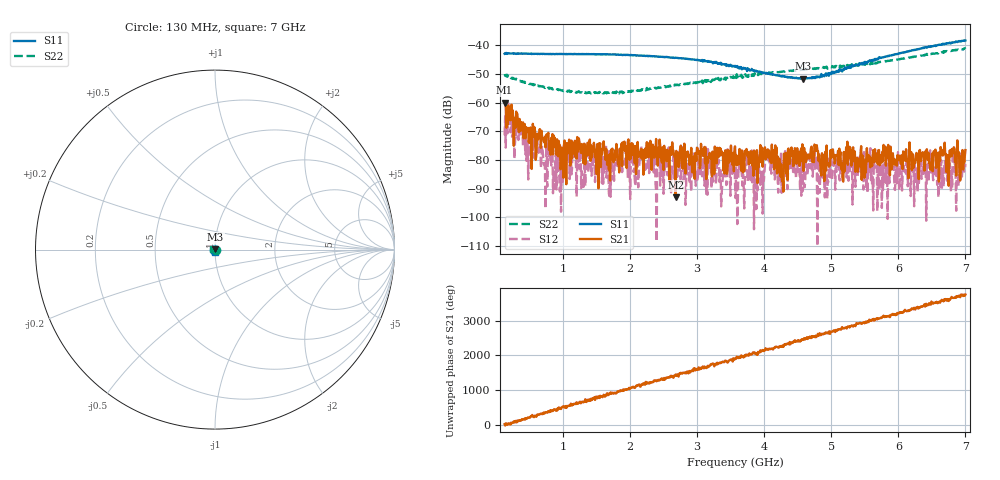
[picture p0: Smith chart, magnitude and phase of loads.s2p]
# Hz S RI R 50.000000
! Metas.Vna.Tools, 2.8.8664.20301
! Metas.Vna.Data, 2.8.8664.20285
! Created: UTC 2024.02.11 10:08:07
! FREQ  re:S1,1  im:S1,1  re:S2,1  im:S2,1  re:S1,2  im:S1,2  re:S2,2  im:S2,2
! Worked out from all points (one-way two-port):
!   801 points, 130 MHz to 7 GHz, reference 50 ohm
!   highest |S21| = -59.96 dB at 130 MHz (marker M1); lowest = -93.1 dB at 2.68 GHz (marker M2)
!   lowest |S11| = -51.6 dB at 4.578 GHz (marker M3), VSWR 1.01, Z = 50.2 + j0.157 ohm
!   |S11| at or under -10 dB: start of sweep to end of sweep
!   |S22| runs from -56.8 to -41.0 dB; largest |S21 - S12| = 0.00081
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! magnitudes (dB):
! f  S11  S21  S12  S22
! 130 MHz  -42.9  -60.0  -71.4  -50.1
! 190.1 MHz  -42.8  -61.0  -66.2  -51.0
! 310.3 MHz  -43.0  -64.2  -67.3  -51.9
! 344.7 MHz  -42.9  -70.2  -69.9  -52.4
! 507.9 MHz  -43.0  -74.1  -73.2  -53.5
! 748.3 MHz  -43.0  -71.4  -78.3  -54.7
! 980.2 MHz  -43.0  -75.7  -81.7  -55.7
! 1.281 GHz  -43.1  -74.4  -83.9  -56.4
! 1.573 GHz  -43.2  -76.2  -78.7  -56.5
! 1.667 GHz  -43.1  -80.3  -76.1  -56.6
! 1.899 GHz  -43.4  -75.3  -81.6  -56.4
! 2.105 GHz  -43.5  -80.7  -77.6  -55.8
! 2.423 GHz  -43.9  -75.7  -80.2  -54.6
! 2.68 GHz  -44.3  -93.1  -82.0  -53.8
! 3.565 GHz  -47.1  -75.3  -88.0  -50.9
! 4.578 GHz  -51.6  -79.9  -81.4  -48.4
! 4.716 GHz  -51.1  -80.6  -78.1  -48.1
! 5.179 GHz  -48.4  -87.5  -80.1  -47.2
! 5.291 GHz  -47.9  -79.1  -82.2  -47.0
! 5.394 GHz  -46.8  -84.1  -85.8  -47.1
! 5.858 GHz  -43.8  -79.1  -79.1  -45.4
! 7 GHz  -38.3  -76.6  -81.3  -41.3
